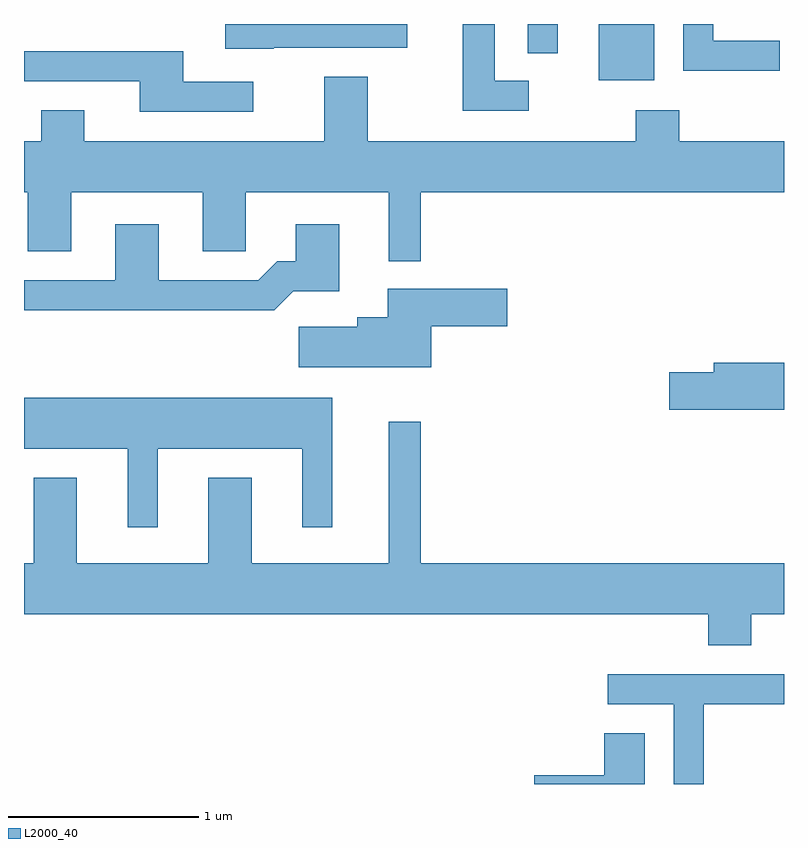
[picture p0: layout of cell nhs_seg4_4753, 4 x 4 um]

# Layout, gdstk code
import gdstk
lib = gdstk.Library(unit=1e-6, precision=1e-09)
def R(c, l, rs):  # rectangles x0, y0, x1, y1
    for r in rs: c.add(gdstk.rectangle(r[:2], r[2:], *l))
def P(c, l, *ps):  # polygons
    for p in ps: c.add(gdstk.Polygon(p, *l))
L2000_40 = (2000, 40)

nhs_seg4_4753 = lib.new_cell('nhs_seg4_4753')
R(nhs_seg4_4753, L2000_40, [(326.636,1379.686,326.929,1379.982), (326.261,1379.828,326.419,1379.982)])
P(nhs_seg4_4753, L2000_40, [(327.588,1379.894),(327.239,1379.894),(327.239,1379.982),(327.081,1379.982),(327.081,1379.736),(327.588,1379.736)],
  [(324.925,1379.856),(325.629,1379.856),(325.629,1379.982),(324.671,1379.982),(324.671,1379.851),(324.925,1379.851)],
  [(326.268,1379.684),(326.089,1379.684),(326.089,1379.982),(325.921,1379.982),(325.921,1379.526),(326.268,1379.526)],
  [(324.818,1379.679),(324.449,1379.679),(324.449,1379.839),(323.611,1379.839),(323.611,1379.681),(324.221,1379.681),(324.221,1379.521),(324.818,1379.521)],
  [(325.699,1379.096),(327.611,1379.096),(327.611,1379.364),(327.059,1379.364),(327.059,1379.529),(326.831,1379.529),(326.831,1379.364),(325.419,1379.364),(325.419,1379.704),(325.191,1379.704),(325.191,1379.364),(323.929,1379.364),(323.929,1379.529),(323.701,1379.529),(323.701,1379.364),(323.611,1379.364),(323.611,1379.096),(323.631,1379.096),(323.631,1378.786),(323.859,1378.786),(323.859,1379.096),(324.551,1379.096),(324.551,1378.786),(324.779,1378.786),(324.779,1379.096),(325.531,1379.096),(325.531,1378.733),(325.699,1378.733)],
  [(325.027,1378.576),(325.269,1378.576),(325.269,1378.929),(325.041,1378.929),(325.041,1378.734),(324.944,1378.734),(324.844,1378.634),(324.319,1378.634),(324.319,1378.929),(324.091,1378.929),(324.091,1378.634),(323.611,1378.634),(323.611,1378.476),(324.927,1378.476)],
  [(325.754,1378.391),(326.154,1378.391),(326.154,1378.589),(325.526,1378.589),(325.526,1378.439),(325.366,1378.439),(325.366,1378.389),(325.056,1378.389),(325.056,1378.176),(325.754,1378.176)],
  [(327.611,1378.199),(327.241,1378.199),(327.241,1378.149),(327.006,1378.149),(327.006,1377.951),(327.611,1377.951)],
  [(324.314,1377.746),(325.076,1377.746),(325.076,1377.333),(325.234,1377.333),(325.234,1378.014),(323.611,1378.014),(323.611,1377.746),(324.156,1377.746),(324.156,1377.333),(324.314,1377.333)],
  [(327.439,1376.876),(327.611,1376.876),(327.611,1377.144),(325.699,1377.144),(325.699,1377.888),(325.531,1377.888),(325.531,1377.144),(324.809,1377.144),(324.809,1377.594),(324.581,1377.594),(324.581,1377.144),(323.889,1377.144),(323.889,1377.594),(323.661,1377.594),(323.661,1377.144),(323.611,1377.144),(323.611,1376.876),(327.211,1376.876),(327.211,1376.711),(327.439,1376.711)],
  [(327.189,1376.401),(327.611,1376.401),(327.611,1376.559),(326.683,1376.559),(326.683,1376.401),(327.031,1376.401),(327.031,1375.982),(327.189,1375.982)],
  [(326.879,1376.249),(326.666,1376.249),(326.666,1376.029),(326.296,1376.029),(326.296,1375.982),(326.879,1375.982)])

lib.write_gds('nhs_seg4_4753.gds')
